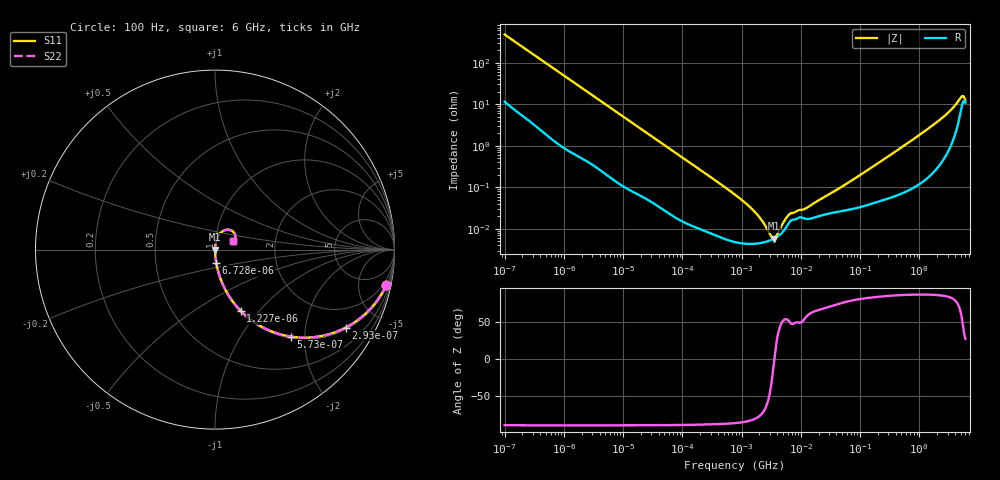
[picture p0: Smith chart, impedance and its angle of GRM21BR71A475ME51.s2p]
!Murata Part Number: GRM21BR71A475ME51
!These Parameters are Measured in Series Mode Connection
!Data Generated on Mar 30, 2021
!  o--ll--o
!Port1  Port2
!  o------o
!Operation Temp=25[degC], DC Bias Voltage=0[V]
!Freq. Start=100[Hz] Stop=6[GHz] 401[Steps]
# Hz S RI R 50
!Freq.(Hz) S11(Real) S11(Imag) S21(Real) S21(Imag) S12(Real) S12(Imag) S22(Real) S22(Imag)
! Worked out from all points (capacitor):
!   401 points, 100 Hz to 6 GHz, reference 50 ohm
!   read as one part in series: C = 3.31 uF near 109 Hz
!   lowest |Z| = 5.86 mohm at 3.55 MHz (marker M1)
!   series resonance near 3.572 MHz, so ESL is about 600 pH
!   S11 on the Smith chart (normalised r, x): 100 Hz: 1.23, -9.57; 293 Hz: 1.07, -3.31; 573 Hz: 1.03, -1.71; 1.227 kHz: 1.01, -0.80; 6.728 kHz: 1.00, -0.15; 6 GHz: 1.22, +0.11
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100  0.9538 -0.1982  0.0462 0.1982  0.0462 0.1982  0.9538 -0.1982
179  0.8735 -0.3215  0.1265 0.3215  0.1265 0.3215  0.8735 -0.3215
293  0.7289 -0.4342  0.2711 0.4342  0.2711 0.4342  0.7289 -0.4342
573  0.4229 -0.4848  0.5771 0.4848  0.5771 0.4848  0.4229 -0.4848
1227  0.1433 -0.3413  0.8567 0.3413  0.8567 0.3413  0.1433 -0.3413
2008  0.0615 -0.2303  0.9385 0.2303  0.9385 0.2303  0.0615 -0.2303
6728  0.00709 -0.0743  0.9929 0.0743  0.9929 0.0743  0.00709 -0.0743
40335  0.000502 -0.0128  0.9995 0.0128  0.9995 0.0128  0.000502 -0.0128
774597  4.84e-05 -0.000665  1 0.000665  1 0.000665  4.84e-05 -0.000665
1585629  4.37e-05 -0.000275  1 0.000275  1 0.000275  4.37e-05 -0.000275
2713602  4.98e-05 -8.49e-05  1 8.49e-05  1 8.49e-05  4.98e-05 -8.49e-05
3549919  5.86e-05 -1.9e-06  0.9999 1.9e-06  0.9999 1.9e-06  5.86e-05 -1.9e-06
4440638  7.27e-05 6.77e-05  0.9999 -6.77e-05  0.9999 -6.77e-05  7.27e-05 6.77e-05
5809218  0.000115 0.000153  0.9999 -0.000153  0.9999 -0.000153  0.000115 0.000153
6644369  0.000154 0.000175  0.9998 -0.000175  0.9998 -0.000175  0.000154 0.000175
1.189169e7  0.000175 0.000251  0.9998 -0.000251  0.9998 -0.000251  0.000175 0.000251
1.555665e7  0.000181 0.000346  0.9998 -0.000346  0.9998 -0.000346  0.000181 0.000346
3.124326e8  0.000583 0.00576  0.9994 -0.00576  0.9994 -0.00576  0.000583 0.00576
2.142435e9  0.00485 0.0401  0.9952 -0.0401  0.9952 -0.0401  0.00485 0.0401
3.8344e9  0.022 0.0823  0.978 -0.0823  0.978 -0.0823  0.022 0.0823
5.016141e9  0.077 0.1111  0.923 -0.1111  0.923 -0.1111  0.077 0.1111
6e9  0.1006 0.0452  0.8994 -0.0452  0.8994 -0.0452  0.1006 0.0452
